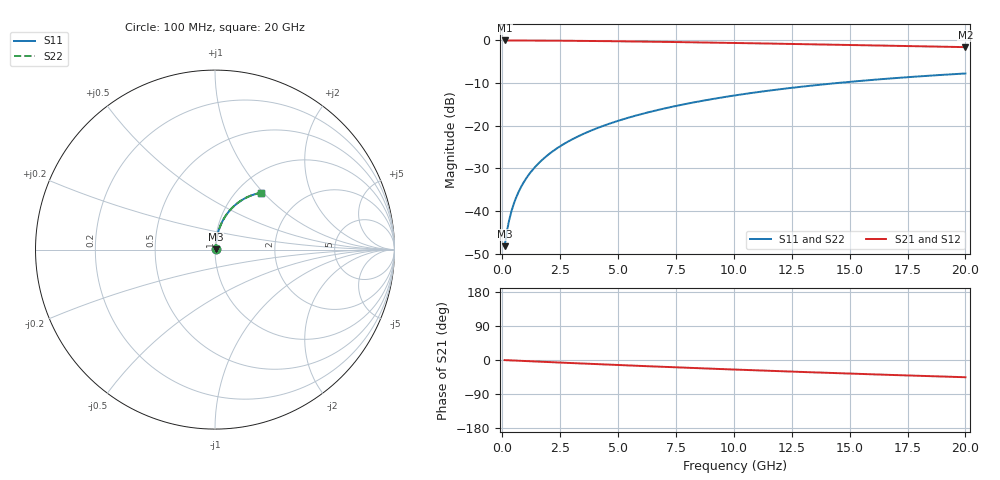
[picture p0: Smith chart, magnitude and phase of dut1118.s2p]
! Touchstone file exported from HFSS 2024.1.0
!  File:  C:/UserFiles/LocalFiles/RDL_TSV_Batchsim/temp_RDL_top_1118_1780046931.aedt
!  Generated:  05:31:29 PM May 29, 2026
!  Design:  RDL_top
!  Project:  temp_RDL_top_1118_1780046931
!  Setup:  Setup1
!  Solution:  Sweep
! Variables:
!  dtsv = 10.80580581um
!  hbump = 3um
!  htsv = 78.15um
!  ldown = 100um
!  lrdl = 681.52um
!  p = 40
!  p1 = 43.27um
!  rhole = 1um
!  t = 450um
!  tdown = 3.915915916um
!  trdl = 4.97um
!  wdown = 15.38538539um
!  wrdl = 16.97um
# GHz S MA R 50.000000
! Terminal data exported
! Port[1] = Box2_T1
! Port[2] = Box2_T2
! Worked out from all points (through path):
!   200 points, 100 MHz to 20 GHz, reference 50 ohm
!   highest |S21| = -0.03 dB at 100 MHz (marker M1); lowest = -1.6 dB at 20 GHz (marker M2)
!   group delay of S21, straight-line fit = 6.29 ps
!   lowest |S11| = -48.2 dB at 100 MHz (marker M3), VSWR 1.01, Z = 50.3 + j0.248 ohm
!   |S11| at or under -10 dB: start of sweep to 14.47 GHz
!   |S22| runs from -48.2 to -7.8 dB; largest |S21 - S12| = 7e-15
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0.1  0.00387 39.6  0.997 -0.3  0.997 -0.3  0.00387 39.6
! Gamma 0 0 0 0
! Port Impedance 50 0 50 0
0.2  0.005775 57.2  0.9969 -0.6  0.9969 -0.6  0.005775 57.2
0.3  0.007881 65.4  0.9967 -0.8  0.9967 -0.8  0.007881 65.4
0.4  0.01004 70.0  0.9965 -1.1  0.9965 -1.1  0.01004 70.0
0.5  0.01223 73.1  0.9964 -1.4  0.9964 -1.4  0.01223 73.1
0.6  0.01443 75.2  0.9962 -1.7  0.9962 -1.7  0.01443 75.2
0.8  0.01889 77.9  0.9959 -2.2  0.9959 -2.2  0.01889 77.9
1.1  0.02565 80.0  0.9953 -3.0  0.9953 -3.0  0.02565 80.1
1.5  0.03471 81.3  0.9943 -4.1  0.9943 -4.1  0.03471 81.3
1.8  0.04151 81.7  0.9933 -4.9  0.9933 -4.9  0.04151 81.7
2.1  0.04832 81.8  0.9922 -5.7  0.9922 -5.7  0.04833 81.8
2.7  0.06193 81.6  0.9896 -7.3  0.9896 -7.3  0.06194 81.6
3.5  0.08005 80.8  0.9853 -9.4  0.9853 -9.4  0.08005 80.8
4.2  0.09587 80.0  0.9809 -11.2  0.9809 -11.2  0.09588 80.0
5  0.1139 78.8  0.9754 -13.2  0.9754 -13.2  0.114 78.9
5.9  0.1343 77.5  0.9685 -15.5  0.9685 -15.5  0.1343 77.5
6.8  0.1545 76.0  0.9611 -17.7  0.9611 -17.7  0.1546 76.0
8.4  0.1903 73.1  0.9471 -21.5  0.9471 -21.5  0.1904 73.1
10.1  0.2275 69.9  0.9311 -25.4  0.9311 -25.4  0.2276 69.9
13.4  0.2957 63.4  0.8986 -32.5  0.8986 -32.5  0.2958 63.4
16.7  0.3565 56.9  0.8653 -39.2  0.8653 -39.2  0.3566 56.9
20  0.4091 50.8  0.8326 -45.5  0.8326 -45.5  0.4092 50.8
